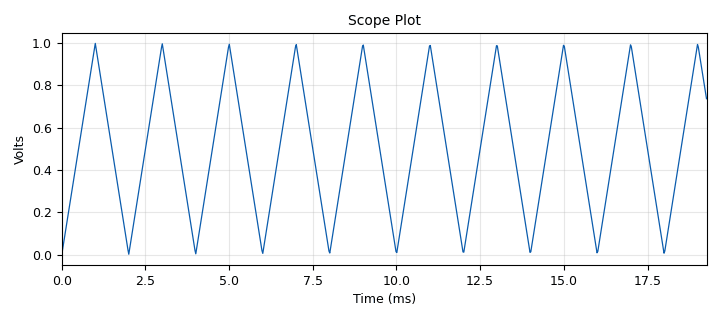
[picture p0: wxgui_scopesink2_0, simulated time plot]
<?xml version='1.0' encoding='utf-8'?>
<?grc format='1' created='3.7.11'?>
<flow_graph>
<block>
<key>options</key>
<param><key>id</key><value>top_block</value></param>
<param><key>generate_options</key><value>wx_gui</value></param>
</block>
<block>
<key>variable_slider</key>
<param><key>id</key><value>SourceFreq</value></param>
<param><key>converver</key><value>float_converter</value></param>
<param><key>value</key><value>500</value></param>
<param><key>label</key><value></value></param>
<param><key>max</key><value>3000</value></param>
<param><key>min</key><value>100</value></param>
<param><key>num_steps</key><value>100</value></param>
<param><key>style</key><value>wx.SL_HORIZONTAL</value></param>
</block>
<block>
<key>variable</key>
<param><key>id</key><value>samp_rate</value></param>
<param><key>value</key><value>40960</value></param>
</block>
<block>
<key>AD2_AnalogOut_Custom_AD2_AnalogOut_Custom_f</key>
<param><key>id</key><value>AD2_AnalogOut_Custom_AD2_AnalogOut_Custom_f_0</value></param>
<param><key>amplituide</key><value>2.42</value></param>
<param><key>channel</key><value>0</value></param>
<param><key>frequency</key><value>samp_rate</value></param>
</block>
<block>
<key>analog_sig_source_x</key>
<param><key>id</key><value>analog_sig_source_x_0</value></param>
<param><key>amp</key><value>1</value></param>
<param><key>freq</key><value>SourceFreq</value></param>
<param><key>offset</key><value>0</value></param>
<param><key>type</key><value>float</value></param>
<param><key>samp_rate</key><value>samp_rate</value></param>
<param><key>waveform</key><value>analog.GR_TRI_WAVE</value></param>
</block>
<block>
<key>blocks_throttle</key>
<param><key>id</key><value>blocks_throttle_0</value></param>
<param><key>maxoutbuf</key><value>8192</value></param>
<param><key>minoutbuf</key><value>8192</value></param>
<param><key>samples_per_second</key><value>samp_rate</value></param>
<param><key>type</key><value>float</value></param>
</block>
<block>
<key>wxgui_scopesink2</key>
<param><key>id</key><value>wxgui_scopesink2_0</value></param>
<param><key>ac_couple</key><value>False</value></param>
<param><key>num_inputs</key><value>1</value></param>
<param><key>samp_rate</key><value>samp_rate</value></param>
<param><key>t_scale</key><value>0</value></param>
<param><key>title</key><value>Scope Plot</value></param>
<param><key>trig_mode</key><value>wxgui.TRIG_MODE_AUTO</value></param>
<param><key>type</key><value>float</value></param>
<param><key>v_offset</key><value>0</value></param>
<param><key>v_scale</key><value>0</value></param>
<param><key>xy_mode</key><value>False</value></param>
<param><key>y_axis_label</key><value>Volts</value></param>
</block>
<connection><source_block_id>analog_sig_source_x_0</source_block_id><sink_block_id>blocks_throttle_0</sink_block_id><source_key>0</source_key><sink_key>0</sink_key></connection>
<connection><source_block_id>blocks_throttle_0</source_block_id><sink_block_id>AD2_AnalogOut_Custom_AD2_AnalogOut_Custom_f_0</sink_block_id><source_key>0</source_key><sink_key>0</sink_key></connection>
<connection><source_block_id>blocks_throttle_0</source_block_id><sink_block_id>wxgui_scopesink2_0</sink_block_id><source_key>0</source_key><sink_key>0</sink_key></connection>
</flow_graph>
